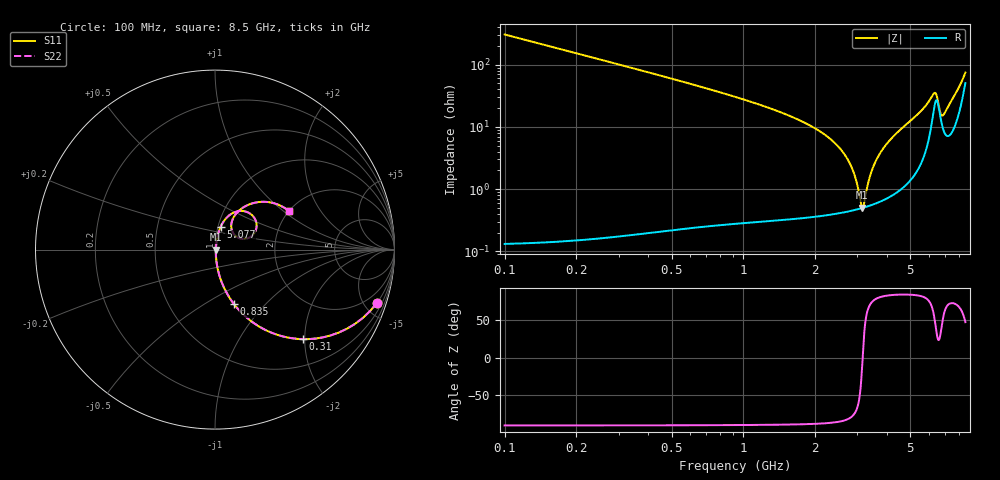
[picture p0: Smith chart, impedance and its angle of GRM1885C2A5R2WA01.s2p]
!Murata Part Number: GRM1885C2A5R2WA01
!These Parameters are Measured in Series Mode Connection
!Data Generated on Mar 30, 2021
!  o--ll--o
!Port1  Port2
!  o------o
!Operation Temp=25[degC], DC Bias Voltage=0[V]
!Freq. Start=100[MHz] Stop=9[GHz] 401[Steps]
# Hz S RI R 50
!Freq.(Hz) S11(Real) S11(Imag) S21(Real) S21(Imag) S12(Real) S12(Imag) S22(Real) S22(Imag)
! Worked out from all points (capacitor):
!   401 points, 100 MHz to 8.5 GHz, reference 50 ohm
!   read as one part in series: C = 5.2 pF near 142 MHz
!   lowest |Z| = 503 mohm at 3.145 GHz (marker M1)
!   series resonance near 3.156 GHz, so ESL is about 490 pH
!   S11 on the Smith chart (normalised r, x): 100 MHz: 1.00, -6.11; 310 MHz: 1.00, -1.96; 835 MHz: 1.01, -0.68; 5.077 GHz: 1.03, +0.26; 8.5 GHz: 2.01, +1.10
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1e8  0.9033 -0.2954  0.0967 0.2954  0.0967 0.2954  0.9033 -0.2954
3.1e8  0.4888 -0.499  0.5112 0.499  0.5112 0.499  0.4888 -0.499
5.2e8  0.248 -0.4299  0.752 0.4299  0.752 0.4299  0.248 -0.4299
8.35e8  0.1066 -0.3047  0.8934 0.3047  0.8934 0.3047  0.1066 -0.3047
1.507e9  0.0277 -0.1543  0.9723 0.1543  0.9723 0.1543  0.0277 -0.1543
2.452e9  0.00667 -0.0513  0.9933 0.0513  0.9933 0.0513  0.00667 -0.0513
2.725e9  0.00524 -0.0301  0.9948 0.0301  0.9948 0.0301  0.00524 -0.0301
2.914e9  0.00486 -0.0164  0.9951 0.0164  0.9951 0.0164  0.00486 -0.0164
3.145e9  0.00496 -0.000708  0.995 0.000708  0.995 0.000708  0.00496 -0.000708
3.187e9  0.00504 0.00207  0.995 -0.00207  0.995 -0.00207  0.00504 0.00207
3.397e9  0.00568 0.0157  0.9943 -0.0157  0.9943 -0.0157  0.00568 0.0157
3.565e9  0.00651 0.0263  0.9935 -0.0263  0.9935 -0.0263  0.00651 0.0263
3.88e9  0.0088 0.0458  0.9912 -0.0458  0.9912 -0.0458  0.0088 0.0458
4.3e9  0.0136 0.072  0.9864 -0.072  0.9864 -0.072  0.0136 0.072
5.077e9  0.0308 0.1251  0.9692 -0.1251  0.9692 -0.1251  0.0308 0.1251
5.707e9  0.0682 0.1811  0.9318 -0.1811  0.9318 -0.1811  0.0682 0.1811
6.295e9  0.2136 0.1842  0.7864 -0.1842  0.7864 -0.1842  0.2136 0.1842
6.526e9  0.1964 0.0697  0.8036 -0.0697  0.8036 -0.0697  0.1964 0.0697
6.736e9  0.1153 0.0757  0.8847 -0.0757  0.8847 -0.0757  0.1153 0.0757
7.114e9  0.0932 0.1541  0.9068 -0.1541  0.9068 -0.1541  0.0932 0.1541
7.996e9  0.2348 0.2638  0.7652 -0.2638  0.7652 -0.2638  0.2348 0.2638
8.5e9  0.4139 0.2131  0.5861 -0.2131  0.5861 -0.2131  0.4139 0.2131
